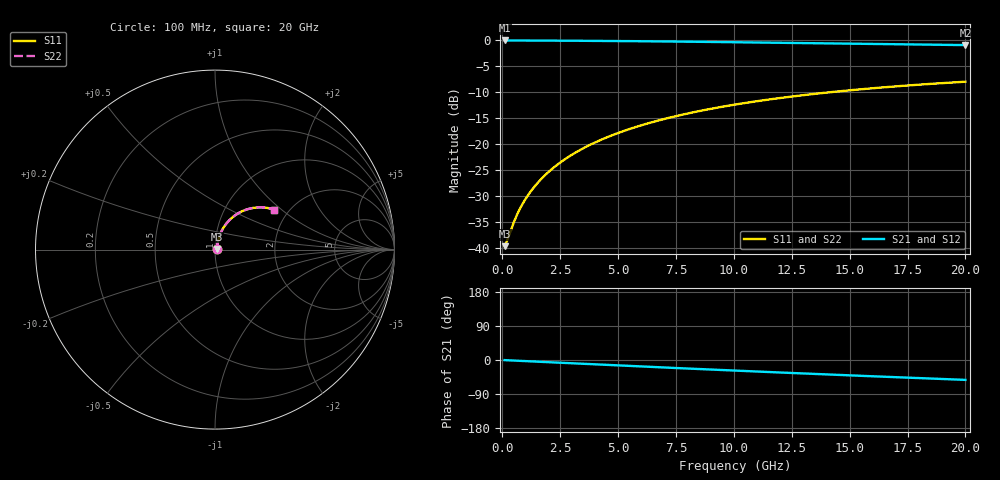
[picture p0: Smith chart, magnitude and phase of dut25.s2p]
! Touchstone file exported from HFSS 2026.1.0
!  File:  C:/ffzhzh/LocalFiles/Ansys_Project_Files/temp_train_BSMRDL_25_1782882104_8056.aedt
!  Generated:  01:02:50 PM Jul  1, 2026
!  Design:  BSMRDL
!  Project:  temp_train_BSMRDL_25_1782882104_8056
! Variables:
!  h_bsmrdl = 3.02um
!  h_ox = 20um
!  h_rdl = 5um
!  h_sub = 80um
!  h_tmrdl = 5um
!  h_tsv = 80um
!  h_via = 3um
!  l_bsmrdl = 869.61um
!  l_sub = 1269.61um
!  l_tmrdl = 200um
!  m_sub = 200um
!  pitch = 21.42um
!  r_tsv = 6um
!  s_tmrdl = 10um
!  w_bsmrdl = 10.09um
!  w_sub = 500um
!  w_tmrdl = 12um
!  x_tsv_center1 = 206um
!  x_tsv_center2 = 1085.7um
!  x_tsv_center3 = 1297.7um
!  x_tsv_center4 = 2177.4um
!  x_tsv_center5 = 2389.4um
!  x_tsv_center6 = 3269.1um
# GHz S MA R 50.000000
! Terminal data exported
! Port[1] = BSM_RDL1_1_T1
! Port[2] = BSM_RDL1_1_T2
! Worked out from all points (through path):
!   200 points, 100 MHz to 20 GHz, reference 50 ohm
!   highest |S21| = -0.09 dB at 100 MHz (marker M1); lowest = -1.0 dB at 20 GHz (marker M2)
!   group delay of S21, straight-line fit = 7.29 ps
!   lowest |S11| = -39.7 dB at 100 MHz (marker M3), VSWR 1.02, Z = 51 + j0.291 ohm
!   |S11| at or under -10 dB: start of sweep to 14.26 GHz
!   |S22| runs from -39.7 to -8.0 dB; largest |S21 - S12| = 3.5e-15
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0.1  0.01038 15.9  0.99 -0.3  0.99 -0.3  0.01038 15.9
! Gamma 0 0 0 0
! Port Impedance 50 0 50 0
0.2  0.01162 29.2  0.9899 -0.6  0.9899 -0.6  0.01162 29.2
0.5  0.01767 51.4  0.9892 -1.5  0.9892 -1.5  0.01767 51.4
0.7  0.02231 58.1  0.9887 -2.1  0.9887 -2.1  0.02231 58.1
0.8  0.02467 60.5  0.9885 -2.4  0.9885 -2.4  0.02467 60.5
1  0.02944 63.9  0.9881 -2.9  0.9881 -2.9  0.02944 63.9
1.2  0.03426 66.3  0.9877 -3.5  0.9877 -3.5  0.03426 66.3
1.4  0.03911 68.0  0.9873 -4.1  0.9873 -4.1  0.03911 68.0
1.8  0.0489 70.2  0.9866 -5.2  0.9866 -5.2  0.0489 70.2
2.3  0.06124 71.4  0.9855 -6.6  0.9855 -6.6  0.06124 71.4
2.9  0.07609 71.8  0.9841 -8.3  0.9841 -8.3  0.07609 71.8
3.5  0.09091 71.5  0.9825 -10.0  0.9825 -10.0  0.09091 71.5
4.2  0.1081 70.6  0.9803 -12.0  0.9803 -12.0  0.1081 70.6
5  0.1274 69.2  0.9774 -14.3  0.9774 -14.3  0.1274 69.2
5.9  0.1487 67.3  0.9737 -16.8  0.9737 -16.8  0.1487 67.3
6.8  0.1694 65.3  0.9695 -19.2  0.9695 -19.2  0.1694 65.3
8.3  0.2027 61.8  0.9619 -23.3  0.9619 -23.3  0.2027 61.8
10.1  0.2402 57.4  0.9518 -28.1  0.9518 -28.1  0.2402 57.4
11.7  0.2712 53.5  0.9423 -32.2  0.9423 -32.2  0.2712 53.5
13.4  0.3017 49.4  0.9319 -36.6  0.9319 -36.6  0.3017 49.4
16.7  0.3538 41.7  0.912 -44.7  0.912 -44.7  0.3539 41.6
20  0.3968 34.2  0.8934 -52.5  0.8934 -52.5  0.3969 34.2
